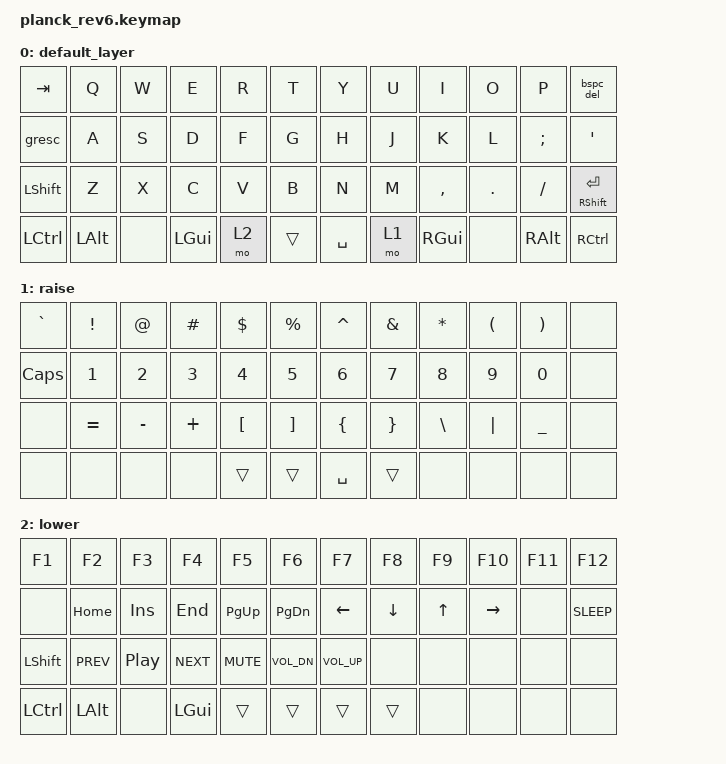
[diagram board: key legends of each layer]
/*
 * Copyright (c) 2020 The ZMK Contributors
 *
 * SPDX-License-Identifier: MIT
 */

#include <behaviors.dtsi>
#include <dt-bindings/zmk/keys.h>

/ {
    behaviors {
        gresc: grave_escape {
            compatible = "zmk,behavior-mod-morph";
            label = "GRAVE_ESCAPE";
            #binding-cells = <0>;
            bindings = <&kp ESC>, <&kp GRAVE>;
            mods = <(MOD_LGUI|MOD_LSFT|MOD_RGUI|MOD_RSFT)>;
            keep-mods = <(MOD_LGUI|MOD_LSFT|MOD_RGUI|MOD_RSFT)>;
        };
        bspc_del: backspace_delete {
            compatible = "zmk,behavior-mod-morph";
            label = "BACKSPACE_DELETE";
            #binding-cells = <0>;
            bindings = <&kp BACKSPACE>, <&kp DELETE>;
            mods = <(MOD_LSFT|MOD_RSFT)>;
            keep-mods = <(MOD_RSFT)>;
        };
    };
    keymap {
      compatible = "zmk,keymap";
        default_layer {
              bindings = <
                  &kp TAB   &kp Q      &kp W     &kp E      &kp R      &kp T        &kp Y        &kp U    &kp I     &kp O     &kp P     &bspc_del
                  &gresc    &kp A      &kp S     &kp D      &kp F      &kp G        &kp H        &kp J    &kp K     &kp L     &kp SEMI  &kp SQT 
                  &kp LSHFT &kp Z      &kp X     &kp C      &kp V      &kp B        &kp N        &kp M    &kp COMMA &kp DOT   &kp FSLH  &mt RSHFT RET
                  &kp LCTRL &kp LALT   &none     &kp LGUI   &mo 2      &trans       &kp SPACE    &mo 1    &kp RGUI  &none     &kp RALT  &kp RCTRL 
              >;
            };
        raise {
              bindings = <
                  &kp GRAVE &kp EXCL   &kp AT    &kp HASH   &kp DLLR   &kp PRCNT    &kp CARET    &kp AMPS &kp ASTRK &kp LPAR  &kp RPAR  &none 
                  &kp CAPS  &kp N1     &kp N2    &kp N3     &kp N4     &kp N5       &kp N6       &kp N7   &kp N8    &kp N9    &kp N0    &none 
                  &none     &kp EQUAL  &kp MINUS &kp PLUS   &kp LBKT   &kp RBKT     &kp LBRC     &kp RBRC &kp BSLH  &kp PIPE  &kp UNDER &none 
                  &none     &none      &none     &none      &trans     &trans       &kp SPACE    &trans   &none     &none     &none     &none
              >;
        };
        lower {
              bindings = <
                  &kp F1    &kp F2     &kp F3    &kp F4     &kp F5     &kp F6       &kp F7       &kp F8   &kp F9    &kp F10   &kp F11   &kp F12 
                  &none     &kp HOME   &kp INS   &kp END    &kp PG_UP  &kp PG_DN    &kp LEFT     &kp DOWN &kp UP    &kp RIGHT &none     &kp C_SLEEP 
                  &kp LSHFT &kp C_PREV &kp C_PP  &kp C_NEXT &kp C_MUTE &kp C_VOL_DN &kp C_VOL_UP &none    &none     &none     &none     &none 
                  &kp LCTRL &kp LALT   &none     &kp LGUI   &trans     &trans       &trans       &trans   &none     &none     &none     &none
              >;
        };
    };
};
